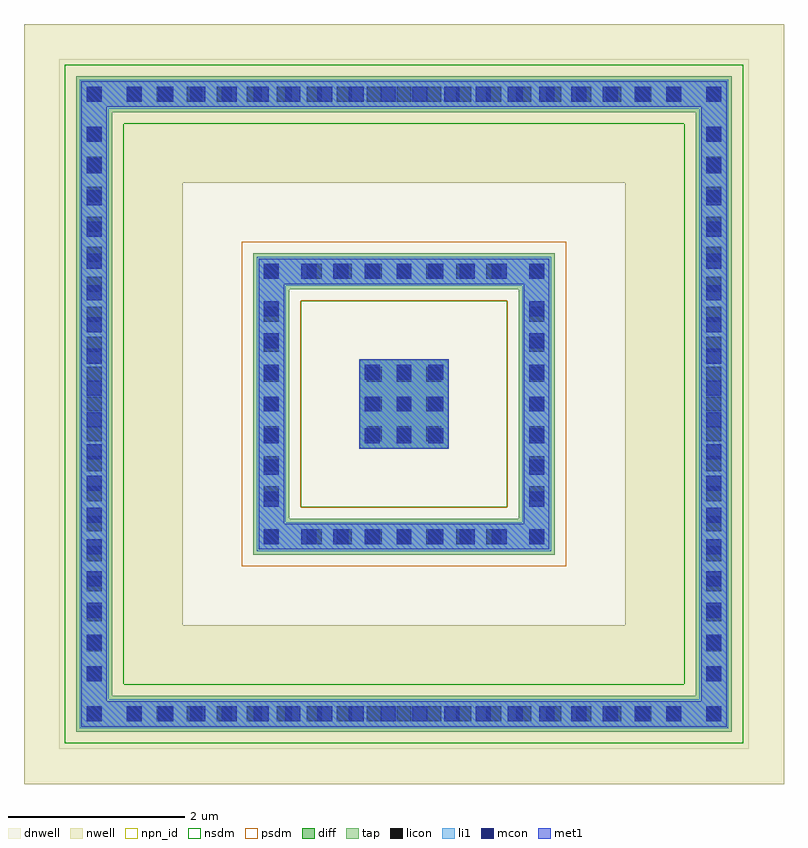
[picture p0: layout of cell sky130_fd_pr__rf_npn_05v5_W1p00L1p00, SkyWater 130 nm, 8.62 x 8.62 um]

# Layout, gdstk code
import gdstk
lib = gdstk.Library(unit=1e-6, precision=1e-09)
def R(c, l, rs):  # rectangles x0, y0, x1, y1
    for r in rs: c.add(gdstk.rectangle(r[:2], r[2:], *l))
def A(c, l, x, y, w, h, nx, ny, dx, dy):  # array of equal rectangles
    R(c, l, [(x+i*dx, y+j*dy, x+i*dx+w, y+j*dy+h) for i in range(nx) for j in range(ny)])
def P(c, l, *ps):  # polygons
    for p in ps: c.add(gdstk.Polygon(p, *l))
dnwell = (64, 18)
nwell = (64, 20)
diff = (65, 20)
tap = (65, 44)
licon = (66, 44)
li1 = (67, 20)
mcon = (67, 44)
met1 = (68, 20)
npn_id = (82, 20)
nsdm = (93, 44)
psdm = (94, 20)

sky130_fd_pr__rf_npn_05v = lib.new_cell('sky130_fd_pr__rf_npn_05v5_W1p00L1p00')
R(sky130_fd_pr__rf_npn_05v, dnwell, [(0.4,0.4,8.22,8.22)])
R(sky130_fd_pr__rf_npn_05v, nwell, [(0.865,0.41,7.755,1.18), (0.41,0.865,1.18,7.755), (7.44,0.865,8.21,7.755), (0.865,7.44,7.755,8.21)])
R(sky130_fd_pr__rf_npn_05v, diff, [(3.81,3.81,4.81,4.81), (3.825,3.825,4.795,4.795)])
R(sky130_fd_pr__rf_npn_05v, tap, [(1.045,0.59,7.575,1), (0.59,1.045,1,7.575), (7.62,1.045,8.03,7.575), (3.085,2.6,5.535,3.01), (2.6,3.085,3.01,5.535), (5.61,3.085,6.02,5.535), (3.085,5.61,5.535,6.02), (1.045,7.62,7.575,8.03)])
P(sky130_fd_pr__rf_npn_05v, tap, [(0.59,7.575),(0.59,8.03),(1.045,8.03),(1.045,7.62),(1,7.62),(1,7.575)],
  [(5.535,2.6),(5.535,3.01),(5.61,3.01),(5.61,3.085),(6.02,3.085),(6.02,2.6)],
  [(2.6,2.6),(2.6,3.085),(3.01,3.085),(3.01,3.01),(3.085,3.01),(3.085,2.6)],
  [(2.6,5.535),(2.6,6.02),(3.085,6.02),(3.085,5.61),(3.01,5.61),(3.01,5.535)],
  [(5.61,5.535),(5.61,5.61),(5.535,5.61),(5.535,6.02),(6.02,6.02),(6.02,5.535)],
  [(0.59,0.59),(0.59,1.045),(1,1.045),(1,1),(1.045,1),(1.045,0.59)],
  [(7.575,0.59),(7.575,1),(7.62,1),(7.62,1.045),(8.03,1.045),(8.03,0.59)],
  [(7.62,7.575),(7.62,7.62),(7.575,7.62),(7.575,8.03),(8.03,8.03),(8.03,7.575)])
A(sky130_fd_pr__rf_npn_05v, licon, 1.165, 0.71, 0.17, 0.17, 19, 2, 0.34, 7.03)
A(sky130_fd_pr__rf_npn_05v, licon, 0.71, 1.165, 0.17, 0.17, 1, 19, 0, 0.34)
A(sky130_fd_pr__rf_npn_05v, licon, 7.74, 1.165, 0.17, 0.17, 1, 19, 0, 0.34)
A(sky130_fd_pr__rf_npn_05v, licon, 3.205, 2.72, 0.17, 0.17, 7, 2, 0.34, 3.01)
A(sky130_fd_pr__rf_npn_05v, licon, 2.72, 3.205, 0.17, 0.17, 1, 7, 0, 0.34)
A(sky130_fd_pr__rf_npn_05v, licon, 5.73, 3.205, 0.17, 0.17, 1, 7, 0, 0.34)
A(sky130_fd_pr__rf_npn_05v, licon, 3.885, 3.885, 0.17, 0.17, 3, 3, 0.34, 0.34)
R(sky130_fd_pr__rf_npn_05v, licon, [(0.71,0.71,0.88,0.88), (7.74,0.71,7.91,0.88), (2.72,2.72,2.89,2.89), (5.73,2.72,5.9,2.89), (2.72,5.73,2.89,5.9), (5.73,5.73,5.9,5.9), (0.71,7.74,0.88,7.91), (7.74,7.74,7.91,7.91)])
R(sky130_fd_pr__rf_npn_05v, li1, [(1.085,0.63,7.535,0.96), (1.165,0.71,7.455,0.88), (0.63,1.085,0.96,7.535), (7.66,1.085,7.99,7.535), (0.71,1.165,0.88,7.455), (7.74,1.165,7.91,7.455), (3.125,2.64,5.495,2.97), (3.145,2.72,5.475,2.89), (2.64,3.125,2.97,5.495), (5.65,3.125,5.98,5.495), (2.72,3.145,2.89,5.475), (5.73,3.145,5.9,5.475), (3.805,3.805,4.815,4.815), (3.865,3.865,4.755,4.755), (3.125,5.65,5.495,5.98), (3.145,5.73,5.475,5.9), (1.085,7.66,7.535,7.99), (1.165,7.74,7.455,7.91)])
P(sky130_fd_pr__rf_npn_05v, li1, [(2.64,5.495),(2.64,5.98),(3.125,5.98),(3.125,5.65),(2.97,5.65),(2.97,5.495)],
  [(5.65,5.495),(5.65,5.65),(5.495,5.65),(5.495,5.98),(5.98,5.98),(5.98,5.495)],
  [(5.495,2.64),(5.495,2.97),(5.65,2.97),(5.65,3.125),(5.98,3.125),(5.98,2.64)],
  [(0.63,0.63),(0.63,1.085),(0.96,1.085),(0.96,0.96),(1.085,0.96),(1.085,0.63)],
  [(7.535,0.63),(7.535,0.96),(7.66,0.96),(7.66,1.085),(7.99,1.085),(7.99,0.63)],
  [(7.66,7.535),(7.66,7.66),(7.535,7.66),(7.535,7.99),(7.99,7.99),(7.99,7.535)],
  [(0.63,7.535),(0.63,7.99),(1.085,7.99),(1.085,7.66),(0.96,7.66),(0.96,7.535)],
  [(2.64,2.64),(2.64,3.125),(2.97,3.125),(2.97,2.97),(3.125,2.97),(3.125,2.64)])
A(sky130_fd_pr__rf_npn_05v, mcon, 1.165, 0.71, 0.17, 0.17, 18, 2, 0.36, 7.03)
A(sky130_fd_pr__rf_npn_05v, mcon, 0.71, 1.165, 0.17, 0.17, 1, 18, 0, 0.36)
A(sky130_fd_pr__rf_npn_05v, mcon, 7.74, 1.165, 0.17, 0.17, 1, 18, 0, 0.36)
A(sky130_fd_pr__rf_npn_05v, mcon, 3.145, 2.72, 0.17, 0.17, 7, 2, 0.36, 3.01)
A(sky130_fd_pr__rf_npn_05v, mcon, 2.72, 3.145, 0.17, 0.17, 1, 7, 0, 0.36)
A(sky130_fd_pr__rf_npn_05v, mcon, 5.73, 3.145, 0.17, 0.17, 1, 7, 0, 0.36)
A(sky130_fd_pr__rf_npn_05v, mcon, 3.865, 3.865, 0.17, 0.17, 3, 3, 0.36, 0.36)
R(sky130_fd_pr__rf_npn_05v, mcon, [(0.71,0.71,0.88,0.88), (7.74,0.71,7.91,0.88), (2.72,2.72,2.89,2.89), (5.73,2.72,5.9,2.89), (2.72,5.73,2.89,5.9), (5.73,5.73,5.9,5.9), (0.71,7.74,0.88,7.91), (7.74,7.74,7.91,7.91)])
R(sky130_fd_pr__rf_npn_05v, met1, [(1.105,0.65,7.515,0.94), (0.65,1.105,0.94,7.515), (7.68,1.105,7.97,7.515), (3.085,2.66,5.535,2.95), (2.66,3.085,2.95,5.535), (5.67,3.085,5.96,5.535), (3.805,3.805,4.815,4.815), (3.085,5.67,5.535,5.96), (1.105,7.68,7.515,7.97)])
P(sky130_fd_pr__rf_npn_05v, met1, [(0.65,7.515),(0.65,7.97),(1.105,7.97),(1.105,7.68),(0.94,7.68),(0.94,7.515)],
  [(0.65,0.65),(0.65,1.105),(0.94,1.105),(0.94,0.94),(1.105,0.94),(1.105,0.65)],
  [(7.515,0.65),(7.515,0.94),(7.68,0.94),(7.68,1.105),(7.97,1.105),(7.97,0.65)],
  [(7.68,7.515),(7.68,7.68),(7.515,7.68),(7.515,7.97),(7.97,7.97),(7.97,7.515)],
  [(5.67,5.535),(5.67,5.67),(5.535,5.67),(5.535,5.96),(5.96,5.96),(5.96,5.535)],
  [(2.66,2.66),(2.66,3.085),(2.95,3.085),(2.95,2.95),(3.085,2.95),(3.085,2.66)],
  [(2.66,5.535),(2.66,5.96),(3.085,5.96),(3.085,5.67),(2.95,5.67),(2.95,5.535)],
  [(5.535,2.66),(5.535,2.95),(5.67,2.95),(5.67,3.085),(5.96,3.085),(5.96,2.66)])
R(sky130_fd_pr__rf_npn_05v, npn_id, [(0.59,0.59,8.03,8.03)])
R(sky130_fd_pr__rf_npn_05v, nsdm, [(0.46,0.46,0.915,0.915), (0.915,0.46,7.705,1.13), (7.705,0.46,8.16,0.915), (0.46,0.915,1.13,7.705), (7.49,0.915,8.16,7.705), (3.14,3.14,5.48,5.48), (3.705,3.685,4.915,4.935), (3.695,3.695,4.925,4.925), (0.915,7.49,7.705,8.16), (0.46,7.705,0.915,8.16), (7.705,7.705,8.16,8.16)])
R(sky130_fd_pr__rf_npn_05v, psdm, [(2.47,2.47,2.955,2.955), (2.955,2.47,5.665,3.14), (5.665,2.47,6.15,2.955), (2.47,2.955,3.14,5.665), (5.48,2.955,6.15,5.665), (2.955,5.48,5.665,6.15), (2.47,5.665,2.955,6.15), (5.665,5.665,6.15,6.15)])
sky130_fd_pr__rf_npn_05v.add(gdstk.FlexPath([(0.9,1.8),(0.9,7.72),(7.72,7.72),(7.72,0.9),(0,0.9)], 1.8, ends="flush", simple_path=True, layer=64, datatype=20))  # nwell

lib.write_gds('sky130_fd_pr__rf_npn_05v5_W1p00L1p00.gds')
